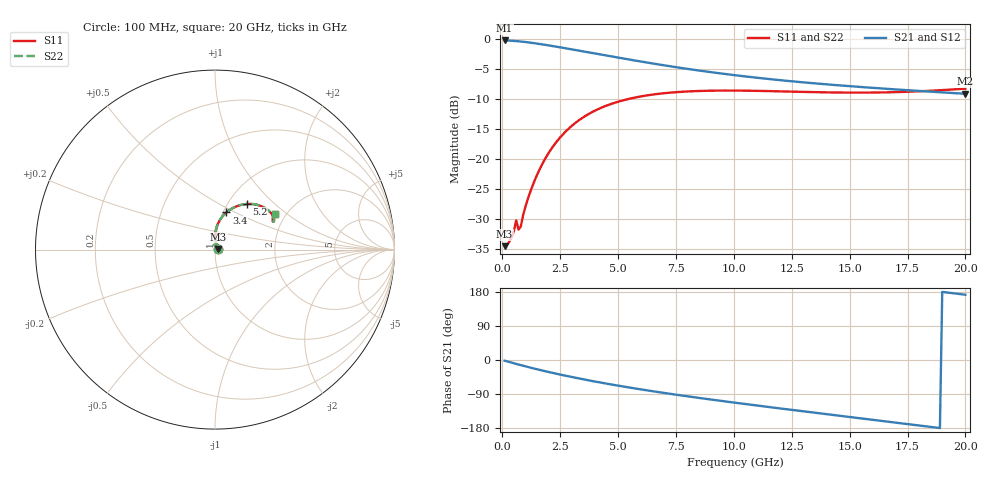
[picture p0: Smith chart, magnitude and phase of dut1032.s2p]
! Touchstone file exported from HFSS 2024.1.0
!  File:  C:/UserFiles/LocalFiles/RDL_TSV_Batchsim/temp_RDL_TSV_1032_1780083920.aedt
!  Generated:  03:57:58 AM May 30, 2026
!  Design:  RDL_TSV
!  Project:  temp_RDL_TSV_1032_1780083920
!  Setup:  Setup1
!  Solution:  Sweep
! Variables:
!  dtsv = 13.9um
!  hbump = 3um
!  htsv = 61.13um
!  ldown = 244.18um
!  lrdl = 462.03um
!  p = 40
!  p1 = 50.25um
!  rhole = 10um
!  subl = 2580.66um
!  t = 450um
!  tdown = 4.78um
!  trdl = 4.39um
!  viad = 10um
!  wdown = 14.6um
!  wrdl = 10.1um
!  xbump = 18um
# GHz S MA R 50.000000
! Terminal data exported
! Port[1] = TM1_1_T1
! Port[2] = TM1_4_T1
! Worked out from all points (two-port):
!   200 points, 100 MHz to 20 GHz, reference 50 ohm
!   highest |S21| = -0.16 dB at 100 MHz (marker M1); lowest = -9.1 dB at 20 GHz (marker M2)
!   |S21| within 3 dB of the highest: start of sweep to 5.195 GHz
!   lowest |S11| = -34.6 dB at 100 MHz (marker M3), VSWR 1.04, Z = 51.9 + j0.356 ohm
!   |S11| at or under -10 dB: start of sweep to 5.406 GHz
!   |S22| runs from -34.6 to -8.2 dB; largest |S21 - S12| = 2.7e-14
!   S11 on the Smith chart (normalised r, x): 100 MHz: 1.04, +0.01; 3.4 GHz: 1.04, +0.45; 5.2 GHz: 1.22, +0.68; 20 GHz: 1.76, +0.81
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0.1  0.01861 10.6  0.9812 -1.7  0.9812 -1.7  0.01861 10.6
! Gamma 0 0 0 0
! Port Impedance 50 0 50 0
0.3  0.02022 32.0  0.9781 -5.2  0.9781 -5.2  0.02023 32.0
0.4  0.02201 42.6  0.9757 -6.9  0.9757 -6.9  0.02203 42.4
0.5  0.02495 52.8  0.9728 -8.6  0.9728 -8.6  0.02499 52.5
0.6  0.03056 64.4  0.9694 -10.3  0.9694 -10.3  0.03075 63.1
0.7  0.02557 101.6  0.9656 -11.9  0.9656 -11.9  0.02832 115.8
0.8  0.02727 76.2  0.9614 -13.6  0.9614 -13.6  0.02675 75.9
0.9  0.03386 78.8  0.9569 -15.2  0.9569 -15.2  0.0337 78.7
1.2  0.05245 86.3  0.9414 -19.9  0.9414 -19.9  0.05242 86.3
1.5  0.07345 88.9  0.9238 -24.5  0.9238 -24.5  0.07343 88.9
1.9  0.1041 87.9  0.8986 -30.3  0.8986 -30.3  0.1041 88.0
2.6  0.1593 81.7  0.8528 -39.8  0.8528 -39.8  0.1593 81.7
3.4  0.2168 72.9  0.801 -49.8  0.801 -49.8  0.2168 72.9
3.5  0.2234 71.8  0.7946 -51.0  0.7946 -51.0  0.2234 71.8
4.3  0.2695 63.5  0.7455 -60.1  0.7455 -60.1  0.2695 63.5
5.2  0.3089 55.3  0.6944 -69.7  0.6944 -69.7  0.3089 55.3
6.8  0.3518 43.8  0.6157 -85.3  0.6157 -85.3  0.3517 43.8
8.4  0.37 35.6  0.5528 -99.3  0.5528 -99.3  0.3699 35.6
10.1  0.3734 29.9  0.5007 -113.1  0.5007 -113.1  0.3733 29.9
13.4  0.3626 25.5  0.4307 -138.4  0.4307 -138.4  0.3623 25.6
16.7  0.3613 27.4  0.3851 -163.1  0.3851 -163.1  0.3609 27.5
20  0.3875 30.4  0.351 172.2  0.351 172.2  0.3873 30.6
